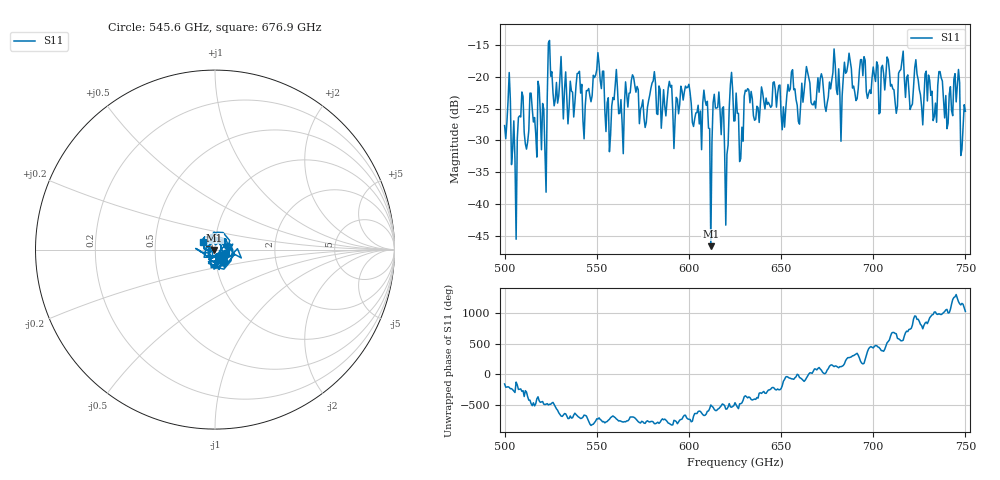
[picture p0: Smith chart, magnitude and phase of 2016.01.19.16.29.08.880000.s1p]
!Created with skrf (http://scikit-rf.org).
# GHz S RI R 50.0
!freq ReS11 ImS11
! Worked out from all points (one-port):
!   401 points, 500 GHz to 750 GHz, reference 50 ohm
!   lowest |S11| = -46.5 dB at 611.9 GHz (marker M1), VSWR 1.01, Z = 49.6 - j0.259 ohm
!   |S11| at or under -10 dB: start of sweep to end of sweep
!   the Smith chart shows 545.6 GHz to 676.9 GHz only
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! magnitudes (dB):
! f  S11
! 500 GHz  -27.7
! 503.8 GHz  -33.8
! 505 GHz  -26.9
! 508.8 GHz  -26.3
! 511.9 GHz  -31.3
! 519.4 GHz  -25.7
! 521.2 GHz  -25.1
! 524.4 GHz  -14.4
! 531.2 GHz  -21.7
! 543.8 GHz  -24.6
! 550 GHz  -18.9
! 556.2 GHz  -23.3
! 562.5 GHz  -25.7
! 593.8 GHz  -23.6
! 608.8 GHz  -23.7
! 611.9 GHz  -46.5
! 615 GHz  -24.9
! 620 GHz  -43.2
! 622.5 GHz  -21.3
! 625 GHz  -26.9
! 628.1 GHz  -32.8
! 631.2 GHz  -22.3
! 651.2 GHz  -24.7
! 656.2 GHz  -18.9
! 659.4 GHz  -27.0
! 687.5 GHz  -17.6
! 718.8 GHz  -19.7
! 750 GHz  -25.4
